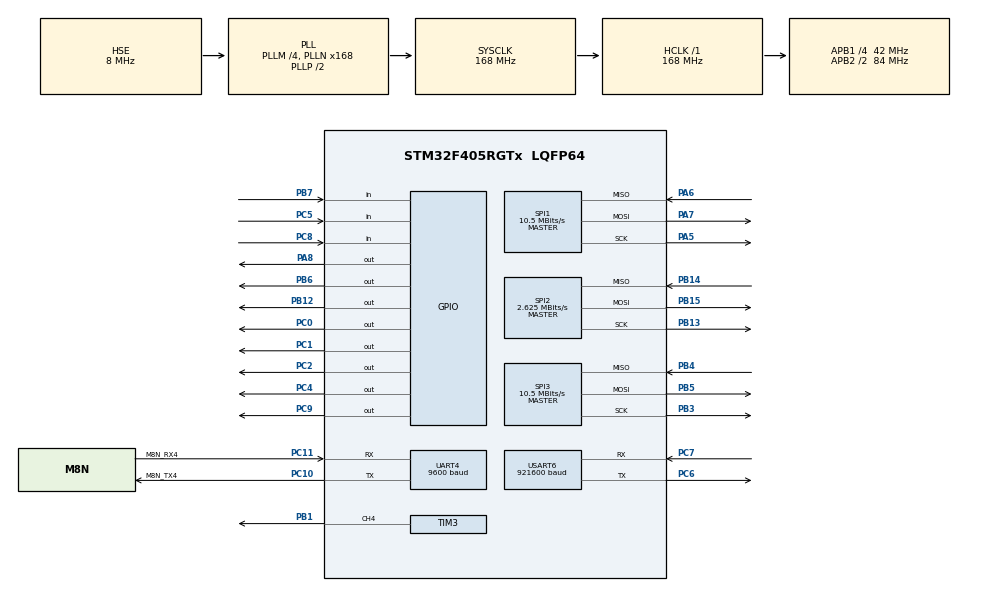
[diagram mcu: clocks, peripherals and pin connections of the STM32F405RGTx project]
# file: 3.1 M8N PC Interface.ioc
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Mcu.Family=STM32F4
Mcu.Name=STM32F405RGTx
Mcu.Package=LQFP64
NVIC.PriorityGroup=NVIC_PRIORITYGROUP_4
NVIC.UART4_IRQn=true\:0\:0\:false\:false\:true\:true\:true
NVIC.USART6_IRQn=true\:0\:0\:false\:false\:true\:true\:true
PA5.Mode=Full_Duplex_Master
PA5.Signal=SPI1_SCK
PA6.Mode=Full_Duplex_Master
PA6.Signal=SPI1_MISO
PA7.Mode=Full_Duplex_Master
PA7.Signal=SPI1_MOSI
PA8.Signal=GPIO_Output
PB1.Signal=S_TIM3_CH4
PB12.Signal=GPIO_Output
PB13.Mode=Full_Duplex_Master
PB13.Signal=SPI2_SCK
PB14.Mode=Full_Duplex_Master
PB14.Signal=SPI2_MISO
PB15.Mode=Full_Duplex_Master
PB15.Signal=SPI2_MOSI
PB3.Mode=Full_Duplex_Master
PB3.Signal=SPI3_SCK
PB4.Mode=Full_Duplex_Master
PB4.Signal=SPI3_MISO
PB5.Mode=Full_Duplex_Master
PB5.Signal=SPI3_MOSI
PB6.Signal=GPIO_Output
PB7.Signal=GPIO_Input
PC0.Signal=GPIO_Output
PC1.Signal=GPIO_Output
PC10.GPIO_Label=M8N_TX4
PC10.Mode=Asynchronous
PC10.Signal=UART4_TX
PC11.GPIO_Label=M8N_RX4
PC11.Mode=Asynchronous
PC11.Signal=UART4_RX
PC2.Signal=GPIO_Output
PC4.Signal=GPIO_Output
PC5.Signal=GPIO_Input
PC6.Mode=Asynchronous
PC6.Signal=USART6_TX
PC7.Mode=Asynchronous
PC7.Signal=USART6_RX
PC8.Signal=GPIO_Input
PC9.Signal=GPIO_Output
PH0-OSC_IN.Mode=HSE-External-Oscillator
PH0-OSC_IN.Signal=RCC_OSC_IN
PH1-OSC_OUT.Mode=HSE-External-Oscillator
PH1-OSC_OUT.Signal=RCC_OSC_OUT
ProjectManager.HeapSize=0x200
ProjectManager.StackSize=0x400
ProjectManager.TargetToolchain=STM32CubeIDE
RCC.48MHZClocksFreq_Value=84000000
RCC.AHBFreq_Value=168000000
RCC.APB1CLKDivider=RCC_HCLK_DIV4
RCC.APB1Freq_Value=42000000
RCC.APB1TimFreq_Value=84000000
RCC.APB2CLKDivider=RCC_HCLK_DIV2
RCC.APB2Freq_Value=84000000
RCC.APB2TimFreq_Value=168000000
RCC.CortexFreq_Value=168000000
RCC.HCLKFreq_Value=168000000
RCC.HSE_VALUE=8000000
RCC.HSI_VALUE=16000000
RCC.LSE_VALUE=32768
RCC.PLLM=4
RCC.PLLN=168
RCC.PLLSourceVirtual=RCC_PLLSOURCE_HSE
RCC.SYSCLKFreq_VALUE=168000000
RCC.SYSCLKSource=RCC_SYSCLKSOURCE_PLLCLK
RCC.VCOOutputFreq_Value=336000000
SH.S_TIM3_CH4.0=TIM3_CH4,PWM Generation4 CH4
SPI1.BaudRatePrescaler=SPI_BAUDRATEPRESCALER_8
SPI1.CLKPhase=SPI_PHASE_2EDGE
SPI1.CLKPolarity=SPI_POLARITY_HIGH
SPI1.CalculateBaudRate=10.5 MBits/s
SPI1.Direction=SPI_DIRECTION_2LINES
SPI1.Mode=SPI_MODE_MASTER
SPI1.VirtualType=VM_MASTER
SPI2.BaudRatePrescaler=SPI_BAUDRATEPRESCALER_16
SPI2.CLKPhase=SPI_PHASE_2EDGE
SPI2.CLKPolarity=SPI_POLARITY_HIGH
SPI2.CalculateBaudRate=2.625 MBits/s
SPI2.Direction=SPI_DIRECTION_2LINES
SPI2.Mode=SPI_MODE_MASTER
SPI2.VirtualType=VM_MASTER
SPI3.BaudRatePrescaler=SPI_BAUDRATEPRESCALER_4
SPI3.CLKPhase=SPI_PHASE_2EDGE
SPI3.CLKPolarity=SPI_POLARITY_HIGH
SPI3.CalculateBaudRate=10.5 MBits/s
SPI3.Direction=SPI_DIRECTION_2LINES
SPI3.Mode=SPI_MODE_MASTER
SPI3.VirtualType=VM_MASTER
TIM3.AutoReloadPreload=TIM_AUTORELOAD_PRELOAD_ENABLE
TIM3.Channel-PWM\ Generation4\ CH4=TIM_CHANNEL_4
TIM3.OCFastMode_PWM-PWM\ Generation4\ CH4=TIM_OCFAST_ENABLE
TIM3.Period=20
TIM3.Prescaler=999
TIM3.Pulse-PWM\ Generation4\ CH4=10
UART4.BaudRate=9600
UART4.VirtualMode=Asynchronous
USART6.BaudRate=921600
USART6.VirtualMode=VM_ASYNC
VP_TIM3_VS_ClockSourceINT.Mode=Internal
board=custom

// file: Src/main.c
/* USER CODE BEGIN Header */
/**
  ******************************************************************************
  * @file           : main.c
  * @brief          : Main program body
  ******************************************************************************
  * @attention
  *
  * <h2><center>&copy; Copyright (c) 2022 STMicroelectronics.
  * All rights reserved.</center></h2>
  *
  * This software component is licensed by ST under BSD 3-Clause license,
  * the "License"; You may not use this file except in compliance with the
  * License. You may obtain a copy of the License at:
  *                        opensource.org/licenses/BSD-3-Clause
  *
  ******************************************************************************
  */
/* USER CODE END Header */

#include "main.h"
#include "spi.h"
#include "tim.h"
#include "usart.h"
#include "gpio.h"

/* USER CODE BEGIN Includes */
#include "BNO080.h"
#include "Quaternion.h"
#include "ICM20602.h"
#include "LPS22HH.h"
/* USER CODE END Includes */

/* USER CODE BEGIN PTD */
int _write(int file, char* p,int len)
{
	for(int i=0;i<len;i++)
	{
		LL_USART_TransmitData8(USART6, *(p+i));
		HAL_Delay(1);

	}
	return len;
}
/* USER CODE END PTD */

/* USER CODE BEGIN PV */
extern uint8_t uart6_rx_flag;
extern uint8_t uart6_rx_data;
extern uint8_t uart4_rx_flag;
extern uint8_t uart4_rx_data;
/* USER CODE END PV */

void SystemClock_Config(void);

int main(void)
{
  /* USER CODE BEGIN 1 */
	float q[4];
	float quatRadianAccuracy;
  /* USER CODE END 1 */

  /* MCU Configuration--------------------------------------------------------*/

  /* Reset of all peripherals, Initializes the Flash interface and the Systick. */
  HAL_Init();

  /* Configure the system clock */
  SystemClock_Config();

  /* Initialize all configured peripherals */
  MX_GPIO_Init();
  MX_TIM3_Init();
  MX_USART6_UART_Init();
  MX_SPI2_Init();
  MX_SPI1_Init();
  MX_SPI3_Init();
  MX_UART4_Init();
  /* USER CODE BEGIN 2 */
  LL_TIM_EnableCounter(TIM3);
  LL_TIM_CC_EnableChannel(TIM3, LL_TIM_CHANNEL_CH4);

  TIM3->PSC = 2000;
  HAL_Delay(100);
  TIM3->PSC = 1500;
  HAL_Delay(100);
  TIM3->PSC = 1000;
  HAL_Delay(100);

  LL_TIM_CC_DisableChannel(TIM3, LL_TIM_CHANNEL_CH4);

  LL_USART_EnableIT_RXNE(USART6);
  LL_USART_EnableIT_RXNE(UART4);

  BNO080_Initialization();
  BNO080_enableRotationVector(2500);

  ICM20602_Initialization();

  LPS22HH_Initialization();
  /* USER CODE END 2 */

  /* Infinite loop */
  while (1)
  {

    /* USER CODE BEGIN 3 */
//	LL_USART_TransmitData8(USART6, 'A');
//	HAL_Delay(1000);
//	if(uart6_rx_flag == 1)
//	{
//		uart6_rx_flag = 0;
//		LL_USART_TransmitData8(USART6, uart6_rx_data);
//
//		switch(uart6_rx_data)
//		{
//		case '0': LL_GPIO_TogglePin(GPIOC, LL_GPIO_PIN_0 | LL_GPIO_PIN_1 | LL_GPIO_PIN_2);break;
//		case '1': LL_TIM_CC_EnableChannel(TIM3, LL_TIM_CHANNEL_CH4);break;
//		case '2': LL_TIM_CC_DisableChannel(TIM3, LL_TIM_CHANNEL_CH4);break;
//		}
//	}
//	printf("123 \n Hello \n test");
//	HAL_Delay(1000);

//	  if(BNO080_dataAvailable() == 1)
//	  {
//
//		  LL_GPIO_TogglePin(GPIOC, LL_GPIO_PIN_0);
//
//		  q[0] = BNO080_getQuatI();
//		  q[1] = BNO080_getQuatJ();
//		  q[2] = BNO080_getQuatK();
//		  q[3] = BNO080_getQuatReal();
//		  quatRadianAccuracy = BNO080_getQuatRadianAccuracy();
//
//
//		  Quaternion_Update(&q[0]);

		  //printf("%d,%d,%d\n",(int)(BNO080_Roll*100),(int)(BNO080_Pitch*100),(int)(BNO080_Yaw*100));
//	  if(ICM20602_DataReady() == 1)
//	  {
//		  LL_GPIO_TogglePin(GPIOC, LL_GPIO_PIN_1);
//
//		  ICM20602_Get3AxisGyroRawData(&ICM20602.gyro_x_raw);
//
//		  ICM20602.gyro_x = ICM20602.gyro_x_raw * 2000.f / 32768.f;
//		  ICM20602.gyro_y = ICM20602.gyro_y_raw * 2000.f / 32768.f;
//		  ICM20602.gyro_z = ICM20602.gyro_z_raw * 2000.f / 32768.f;

		  //printf("%d,%d,%d \n",(int)(ICM20602.gyro_x * 100),(int)(ICM20602.gyro_y * 100),(int)(ICM20602.gyro_z * 100));
//  	}
//	  if(LPS22HH_DataReady() == 1)
//	  {
//		  LPS22HH_GetPressure(&LPS22HH.pressure_raw);
//		  LPS22HH_GetTemperature(&LPS22HH.temperature_raw);
//
//		  LPS22HH.baroAlt = getAltitude2(LPS22HH.pressure_raw / 4096.f, LPS22HH.temperature_raw / 100.f);
//
//#define X 0.90f
//
//		  LPS22HH.baroAltFilt = LPS22HH.baroAltFilt * X + LPS22HH.baroAlt * (1.0f - X);
//
//		  printf("%d,%d \n",(int)(LPS22HH.baroAlt*100),(int)(LPS22HH.baroAltFilt*100));
//	  }
  }
  /* USER CODE END 3 */
}

void SystemClock_Config(void)
{
  RCC_OscInitTypeDef RCC_OscInitStruct = {0};
  RCC_ClkInitTypeDef RCC_ClkInitStruct = {0};

  /** Configure the main internal regulator output voltage
  */
  __HAL_RCC_PWR_CLK_ENABLE();
  __HAL_PWR_VOLTAGESCALING_CONFIG(PWR_REGULATOR_VOLTAGE_SCALE1);
  /** Initializes the CPU, AHB and APB busses clocks
  */
  RCC_OscInitStruct.OscillatorType = RCC_OSCILLATORTYPE_HSE;
  RCC_OscInitStruct.HSEState = RCC_HSE_ON;
  RCC_OscInitStruct.PLL.PLLState = RCC_PLL_ON;
  RCC_OscInitStruct.PLL.PLLSource = RCC_PLLSOURCE_HSE;
  RCC_OscInitStruct.PLL.PLLM = 4;
  RCC_OscInitStruct.PLL.PLLN = 168;
  RCC_OscInitStruct.PLL.PLLP = RCC_PLLP_DIV2;
  RCC_OscInitStruct.PLL.PLLQ = 4;
  if (HAL_RCC_OscConfig(&RCC_OscInitStruct) != HAL_OK)
  {
    Error_Handler();
  }
  /** Initializes the CPU, AHB and APB busses clocks
  */
  RCC_ClkInitStruct.ClockType = RCC_CLOCKTYPE_HCLK|RCC_CLOCKTYPE_SYSCLK
                              |RCC_CLOCKTYPE_PCLK1|RCC_CLOCKTYPE_PCLK2;
  RCC_ClkInitStruct.SYSCLKSource = RCC_SYSCLKSOURCE_PLLCLK;
  RCC_ClkInitStruct.AHBCLKDivider = RCC_SYSCLK_DIV1;
  RCC_ClkInitStruct.APB1CLKDivider = RCC_HCLK_DIV4;
  RCC_ClkInitStruct.APB2CLKDivider = RCC_HCLK_DIV2;

  if (HAL_RCC_ClockConfig(&RCC_ClkInitStruct, FLASH_LATENCY_5) != HAL_OK)
  {
    Error_Handler();
  }
}

void Error_Handler(void)
{
}

/************************ (C) COPYRIGHT STMicroelectronics *****END OF FILE****/
